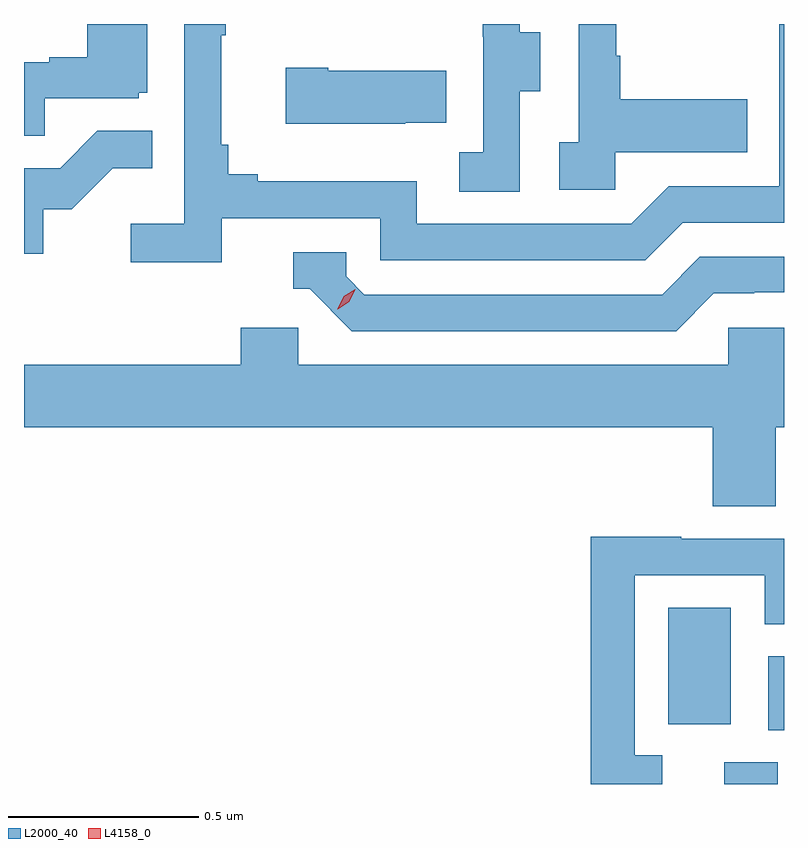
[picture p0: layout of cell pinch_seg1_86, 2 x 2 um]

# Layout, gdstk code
import gdstk
lib = gdstk.Library(unit=1e-6, precision=1e-09)
def R(c, l, rs):  # rectangles x0, y0, x1, y1
    for r in rs: c.add(gdstk.rectangle(r[:2], r[2:], *l))
def P(c, l, *ps):  # polygons
    for p in ps: c.add(gdstk.Polygon(p, *l))
L2000_40 = (2000, 40)
L4158_0 = (4158, 0)

pinch_seg1_86 = lib.new_cell('pinch_seg1_86')
R(pinch_seg1_86, L2000_40, [(1046.141,574.769,1046.281,574.826), (1046.256,574.911,1046.298,575.105), (1045.994,574.926,1046.158,575.233)])
P(pinch_seg1_86, L2000_40, [(1045.854,576.431),(1046.201,576.431),(1046.201,576.571),(1045.867,576.571),(1045.867,576.686),(1045.857,576.686),(1045.857,576.769),(1045.758,576.769),(1045.758,576.458),(1045.707,576.458),(1045.707,576.333),(1045.854,576.333)],
  [(1044.818,576.258),(1045.236,576.258),(1045.236,576.147),(1045.933,576.147),(1046.032,576.246),(1046.298,576.246),(1046.298,576.769),(1046.286,576.769),(1046.286,576.342),(1045.995,576.342),(1045.896,576.243),(1045.332,576.243),(1045.332,576.355),(1044.913,576.355),(1044.913,576.374),(1044.836,576.374),(1044.836,576.451),(1044.817,576.451),(1044.817,576.739),(1044.829,576.739),(1044.829,576.769),(1044.72,576.769),(1044.72,576.244),(1044.579,576.244),(1044.579,576.142),(1044.818,576.142)],
  [(1045.602,576.592),(1045.657,576.592),(1045.657,576.747),(1045.603,576.747),(1045.603,576.769),(1045.505,576.769),(1045.505,576.735),(1045.506,576.735),(1045.506,576.431),(1045.443,576.431),(1045.443,576.328),(1045.602,576.328)],
  [(1044.353,576.573),(1044.6,576.573),(1044.6,576.588),(1044.622,576.588),(1044.622,576.769),(1044.464,576.769),(1044.464,576.682),(1044.365,576.682),(1044.365,576.669),(1044.298,576.669),(1044.298,576.475),(1044.353,576.475)],
  [(1045.301,576.509),(1045.409,576.509),(1045.409,576.646),(1045.099,576.646),(1045.099,576.654),(1044.987,576.654),(1044.987,576.506),(1045.301,576.506)],
  [(1044.348,576.282),(1044.424,576.282),(1044.531,576.389),(1044.635,576.389),(1044.635,576.488),(1044.491,576.488),(1044.393,576.39),(1044.298,576.39),(1044.298,576.165),(1044.348,576.165)],
  [(1046.113,576.06),(1046.22,576.06),(1046.22,576.063),(1046.298,576.063),(1046.298,576.156),(1046.076,576.156),(1045.977,576.057),(1045.194,576.057),(1045.146,576.105),(1045.146,576.168),(1045.007,576.168),(1045.007,576.072),(1045.05,576.072),(1045.161,575.961),(1046.014,575.961)],
  [(1046.276,575.708),(1046.298,575.708),(1046.298,575.97),(1046.151,575.97),(1046.151,575.872),(1045.02,575.872),(1045.02,575.97),(1044.869,575.97),(1044.869,575.872),(1044.298,575.872),(1044.298,575.708),(1046.111,575.708),(1046.111,575.5),(1046.276,575.5)],
  [(1045.978,574.845),(1045.905,574.845),(1045.905,575.319),(1046.247,575.319),(1046.247,575.19),(1046.298,575.19),(1046.298,575.415),(1046.027,575.415),(1046.027,575.42),(1045.789,575.42),(1045.789,574.769),(1045.978,574.769)])
P(pinch_seg1_86, L4158_0, [(1045.122,576.019),(1045.122,576.019),(1045.139,576.052),(1045.17,576.071),(1045.17,576.071),(1045.17,576.07),(1045.154,576.038),(1045.123,576.019)])

lib.write_gds('pinch_seg1_86.gds')
